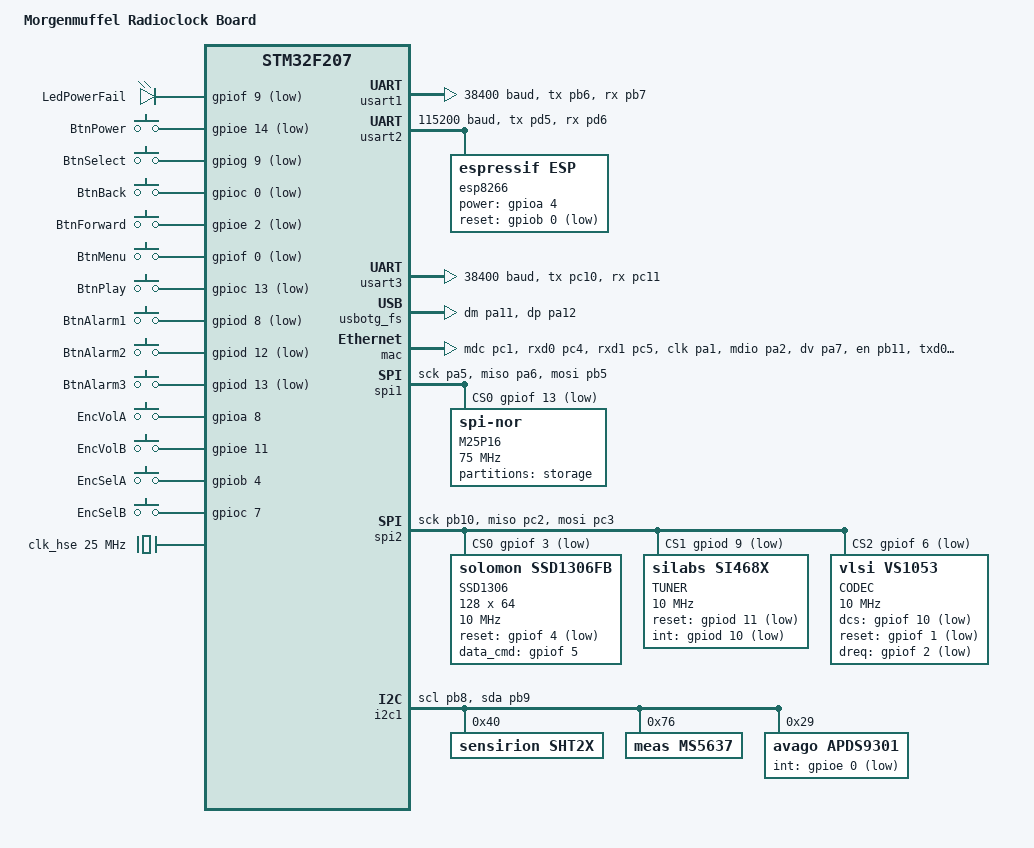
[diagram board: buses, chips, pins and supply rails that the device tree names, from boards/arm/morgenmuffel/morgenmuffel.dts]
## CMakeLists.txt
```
# Boilerplate code, which pulls in the Zephyr build system.
cmake_minimum_required(VERSION 3.13.1)

# Define the custom board
set(BOARD_ROOT ${CMAKE_CURRENT_LIST_DIR})
set(BOARD morgenmuffel)
set(ZEPHYR_BOARD_FLASH_RUNNER jlink)

list(APPEND ZEPHYR_EXTRA_MODULES
    ${CMAKE_CURRENT_LIST_DIR}/drivers/sht2x
    ${CMAKE_CURRENT_LIST_DIR}/drivers/ms5637
    ${CMAKE_CURRENT_LIST_DIR}/drivers/apds9301
    ${CMAKE_CURRENT_LIST_DIR}/drivers/si468x
    ${CMAKE_CURRENT_LIST_DIR}/drivers/vs1053
)

find_package(Zephyr REQUIRED HINTS $ENV{ZEPHYR_BASE})

project(MorgenMuffel)
set(CMAKE_EXPORT_COMPILE_COMMANDS ON)

# Add your source file to the "app" target. This must come after
# the boilerplate code, which defines the target.
target_sources(app PRIVATE
    src/main.c
    src/storage.h
    src/storage.c
    src/events.c
    src/userinput.c
    src/display.h
    src/display.c
    src/free_sans_16.c
    src/free_sans_32.c
    src/powersupply.c
    src/usb_device_handler.c
)
target_include_directories( app PRIVATE src/include)
```

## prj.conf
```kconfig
#CONFIG_HEAP_MEM_POOL_SIZE=16384
#CONFIG_MAIN_STACK_SIZE=2048
#CONFIG_NEWLIB_LIBC=n

CONFIG_COUNTER=y

CONFIG_LOG=y
CONFIG_DEBUG_OPTIMIZATIONS=y

CONFIG_FLASH=y
CONFIG_SPI_NOR=y
CONFIG_FLASH_PAGE_LAYOUT=y
CONFIG_SPI_NOR_FLASH_LAYOUT_PAGE_SIZE=65536
CONFIG_FLASH_MAP=y

CONFIG_FILE_SYSTEM=y
CONFIG_FILE_SYSTEM_LITTLEFS=y
CONFIG_SETTINGS=y

CONFIG_USE_SEGGER_RTT=y
CONFIG_SEGGER_RTT_MODE_BLOCK_IF_FIFO_FULL=y
CONFIG_POLL=y

CONFIG_SSD1306_REVERSE_MODE=y
CONFIG_DISPLAY=y
CONFIG_DISPLAY_LOG_LEVEL_ERR=y
CONFIG_LVGL=y
CONFIG_LVGL_TXT_ENC_UTF8=y
CONFIG_LVGL_USE_LABEL=y
CONFIG_LVGL_USE_CONT=y

#CONFIG_USB=y
CONFIG_USB_DEVICE_STACK=y
CONFIG_USB_DEVICE_MANUFACTURER="Peter-Net"
CONFIG_USB_DEVICE_PRODUCT="Morgenmuffel"
CONFIG_USB_MAX_POWER=5
CONFIG_USB_CDC_ACM=y
CONFIG_USB_CDC_ACM_RINGBUF_SIZE=512

CONFIG_SHELL=y
CONFIG_NET_SHELL=y
CONFIG_NET_L2_WIFI_SHELL=y
CONFIG_NET_TCP=y
CONFIG_DNS_RESOLVER=y
CONFIG_HTTP_CLIENT=y

CONFIG_DISK_DRIVERS=y
CONFIG_DISK_DRIVER_SDMMC=y
CONFIG_SDMMC_STM32=y
CONFIG_FAT_FILESYSTEM_ELM=y
CONFIG_FS_FATFS_EXFAT=y
CONFIG_FS_FATFS_CODEPAGE=850

CONFIG_NETWORKING=y
CONFIG_NET_HOSTNAME_ENABLE=y
CONFIG_NET_HOSTNAME="morgenmuffel"
CONFIG_NET_IPV6=y
CONFIG_NET_IPV4=y
CONFIG_SNTP=y
#CONFIG_ENTROPY_STM32_RNG=y
CONFIG_ENTROPY_GENERATOR=y
CONFIG_TEST_RANDOM_GENERATOR=y
CONFIG_NET_IF_MAX_IPV4_COUNT=2

#CONFIG_WIFI=y
#CONFIG_WIFI_ESP_AT_PASSIVE_MODE=y

CONFIG_SENSOR=y
CONFIG_SHT2X=y
CONFIG_MS5637=y
CONFIG_APDS9301=y

CONFIG_SI468X=y
CONFIG_SI468X_DAB=y
#CONFIG_SI468X_FMHD=y
```

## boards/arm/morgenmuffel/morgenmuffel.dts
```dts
/*
 * Copyright (c) 2019 Marco Peter
 *
 * SPDX-License-Identifier: Apache-2.0
 */

/dts-v1/;
#include <st/f2/stm32f207Xg.dtsi>
#include <st/f2/stm32f217z(e-g)tx-pinctrl.dtsi>

/ {
	model = "Morgenmuffel Radioclock Board";
	compatible = "mp,morgenmuffel", "st,stm32f207";

	chosen {
		zephyr,sram = &sram0;
		zephyr,flash = &flash0;
	};

	leds {
		compatible = "gpio-leds";
		power_led: led_1 {
			gpios = <&gpiof 9 GPIO_ACTIVE_LOW>;
			label = "LedPowerFail";
		};
	};

	gpio_keys {
		compatible = "gpio-keys";
		btn_pwr: button_power {
			label = "BtnPower";
			gpios = <&gpioe 14 (GPIO_ACTIVE_LOW | GPIO_PULL_UP)>;
		};
		btn_sel: button_select {
			label = "BtnSelect";
			gpios = <&gpiog 9 (GPIO_ACTIVE_LOW | GPIO_PULL_UP)>;
		};
		btn_bk: button_back {
			label = "BtnBack";
			gpios = <&gpioc 0 (GPIO_ACTIVE_LOW | GPIO_PULL_UP)>;
		};
		btn_fwd: button_forward {
			label = "BtnForward";
			gpios = <&gpioe 2 (GPIO_ACTIVE_LOW | GPIO_PULL_UP)>;
		};
		btn_menu: button_menu {
			label = "BtnMenu";
			gpios = <&gpiof 0 (GPIO_ACTIVE_LOW | GPIO_PULL_UP)>;
		};
		btn_play: button_play {
			label = "BtnPlay";
			gpios = <&gpioc 13 (GPIO_ACTIVE_LOW | GPIO_PULL_UP)>;
		};
		btn_alarm1: button_alarm1 {
			label = "BtnAlarm1";
			gpios = <&gpiod 8 (GPIO_ACTIVE_LOW | GPIO_PULL_UP)>;
		};
		btn_alarm2: button_alarm2 {
			label = "BtnAlarm2";
			gpios = <&gpiod 12 (GPIO_ACTIVE_LOW | GPIO_PULL_UP)>;
		};
		btn_alarm3: button_alarm3 {
			label = "BtnAlarm3";
			gpios = <&gpiod 13 (GPIO_ACTIVE_LOW | GPIO_PULL_UP)>;
		};
		enc_volume_a: encoder_volume_a {
			label = "EncVolA";
			gpios = <&gpioa 8 GPIO_PULL_UP>;
		};
		enc_volume_b: encoder_volume_b {
			label = "EncVolB";
			gpios = <&gpioe 11 GPIO_PULL_UP>;
		};
		enc_select_a: encoder_select_a {
			label = "EncSelA";
			gpios = <&gpiob 4 GPIO_PULL_UP>;
		};
		enc_select_b: encoder_select_b {
			label = "EncSelB";
			gpios = <&gpioc 7 GPIO_PULL_UP>;
		};
	};

	aliases {
		led0 = &power_led;
		sw0 = &btn_pwr;
		sw1 = &btn_sel;
		sw2 = &btn_bk;
		sw3 = &btn_fwd;
		sw4 = &btn_menu;
		sw5 = &btn_play;
		sw6 = &btn_alarm1;
		sw7 = &btn_alarm2;
		sw8 = &btn_alarm3;
	};
};

&clk_hse {
	clock-frequency = <DT_FREQ_M(25)>;
	status = "okay";
};

&clk_lse {
	status = "okay";
};

&pll {
	/* produce 120MHz clock at PLL output */
	clocks = <&clk_hse>;
	div-m = <25>;
	mul-n = <240>;
	div-p = <2>;
	div-q = <5>;
	status = "okay";
};

&rcc {
	clocks = <&pll>;
	clock-frequency = <DT_FREQ_M(120)>;
	ahb-prescaler = <1>;
	apb1-prescaler = <4>;
	apb2-prescaler = <2>;
};

&usart1 {
	pinctrl-0 = <&usart1_tx_pb6 &usart1_rx_pb7>;
	current-speed = <38400>;
	status = "okay";
};

&usart2 {
	pinctrl-0 = <&usart2_tx_pd5 &usart2_rx_pd6>;
	current-speed = <115200>;
	parity = "none";
	status = "okay";
	
	esp8266 {
		compatible = "espressif,esp";
		label = "esp8266";
		power-gpios = <&gpioa 4 GPIO_ACTIVE_HIGH>;
		reset-gpios = <&gpiob 0 GPIO_ACTIVE_LOW>;
		target-speed = <230400>;
		status = "okay";
	};
};

&usart3 {
	pinctrl-0 = <&usart3_tx_pc10 &usart3_rx_pc11>;
	current-speed = <38400>;
	status = "okay";
};

&usbotg_fs {
	pinctrl-0 = <&usb_otg_fs_dm_pa11 &usb_otg_fs_dp_pa12>;
	status = "okay";
};

&pinctrl {
	mco2_pc9: mco2_pc9 {
		pinmux = <STM32_PINMUX('C', 9, AF0)>;
		slew-rate = "very-high-speed";
	};
};

&mac {
	pinctrl-0 = <&eth_mdc_pc1
		     &eth_rxd0_pc4
		     &eth_rxd1_pc5
		     &eth_ref_clk_pa1
		     &eth_mdio_pa2
		     &eth_crs_dv_pa7
		     &eth_tx_en_pb11
		     &eth_txd0_pb12
		     &eth_txd1_pb13
		     &mco2_pc9>;
	status = "okay";
};

&spi1 { /* Memory bus connecting M25P16 (node 0) flash and SRAM (node 1) */
	pinctrl-0 = <&spi1_sck_pa5 &spi1_miso_pa6 &spi1_mosi_pb5>;
	cs-gpios = <&gpiof 13 GPIO_ACTIVE_LOW>, <&gpiof 12 GPIO_ACTIVE_LOW>;
	status = "okay";
	m25p16: m25p16@0 {
		compatible = "jedec,spi-nor";
		label = "M25P16";
		reg = <0>;
		jedec-id = [20 20 15];
		spi-max-frequency = <75000000>;
		size = <0x2000000>;
		has-dpd;
		t-enter-dpd = <3000>;
		t-exit-dpd = <30000>;

		partitions {
			compatible = "fixed-partitions";
			#address-cells = <1>;
			#size-cells = <1>;

			storage_partition: partition@0 {
				label = "storage";
				reg = <0x00000000 0x00200000>;
			};
		};
	};
};

&spi2 { /* Peripheral bus connecting display (node 0), VS1053 CS (node 1) and DCS (node 2) and SI4689 (node 3). */
	pinctrl-0 = <&spi2_sck_pb10 &spi2_miso_pc2 &spi2_mosi_pc3>;
	cs-gpios = <&gpiof 3 GPIO_ACTIVE_LOW>, <&gpiod 9 GPIO_ACTIVE_LOW>,
		   <&gpiof 6 GPIO_ACTIVE_LOW>;
	status = "okay";
	display: ssd1306@0 {
		compatible = "solomon,ssd1306fb";
		label = "SSD1306";
		reg = <0>;
		spi-max-frequency = <10000000>;
		height = <64>;
		width = <128>;
		segment-offset = <0>;
		page-offset = <0>;
		display-offset = <0>;
		multiplex-ratio = <63>;
		prechargep = <0x22>;
		reset-gpios = <&gpiof 4 GPIO_ACTIVE_LOW>;
		data_cmd-gpios = <&gpiof 5 0>;
	};
	radio: si4689@1 {
		compatible = "silabs,si468x";
		label = "TUNER";
		reg = <1>;
		spi-max-frequency = <10000000>;
		reset-gpios = <&gpiod 11 GPIO_ACTIVE_LOW>;
		int-gpios = <&gpiod 10 (GPIO_ACTIVE_LOW | GPIO_PULL_UP)>;
	};
	codec: vs1053@2 {
		compatible = "vlsi,vs1053";
		label = "CODEC";
		reg = <2>;
		spi-max-frequency = <10000000>;
		dcs-gpios = <&gpiof 10 GPIO_ACTIVE_LOW>;
		reset-gpios = <&gpiof 1 GPIO_ACTIVE_LOW>;
		dreq-gpios = <&gpiof 2 (GPIO_ACTIVE_LOW | GPIO_PULL_UP)>;
	};
};

&i2c1 {
	pinctrl-0 = <&i2c1_scl_pb8 &i2c1_sda_pb9>;
	status = "okay";
	rh_sens: sht2x@40 {
		compatible = "sensirion,sht2x";
		label = "SHT2X";
		reg = <0x40>;
	};
	pr_sens: ms5637@76 {
		compatible = "meas,ms5637";
		label = "MS5637";
		reg = <0x76>;
	};
	light_sens: apds9301@29 {
		compatible = "avago,apds9301";
		label = "APDS9301";
		reg = <0x29>;
		int-gpios = <&gpioe 0 (GPIO_ACTIVE_LOW | GPIO_PULL_UP)>;
	};
};
```

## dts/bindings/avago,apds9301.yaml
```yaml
# Copyright (c) 2018, Peter Bigot Consulting, LLC
# SPDX-License-Identifier: Apache-2.0

description: Avago APDS-9301 ambient light photo sensor

compatible: "avago,apds9301"

include: i2c-device.yaml

properties:
    int-gpios:
      type: phandle-array
      required: false
      description: Interrupt pin
```

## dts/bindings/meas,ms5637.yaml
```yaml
# Copyright (c) 2020, Marco Peter
# SPDX-License-Identifier: Apache-2.0

description: |
    Measurement Specialties MS5637 digital pressure and temperature sensor.

compatible: "meas,ms5637"

include: i2c-device.yaml
```

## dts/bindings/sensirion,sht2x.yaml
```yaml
# Copyright (c) 2018, Peter Bigot Consulting, LLC
# SPDX-License-Identifier: Apache-2.0

description: Sensirion Humidity SHT2x humidity and temperature sensor

compatible: "sensirion,sht2x"

include: i2c-device.yaml
```

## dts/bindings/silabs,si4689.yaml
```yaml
# Copyright (c) 2018, Peter Bigot Consulting, LLC
# SPDX-License-Identifier: Apache-2.0

description: Silicon Labs SI4689 DAB Receiver

compatible: "silabs,si4689"

include: spi-device.yaml

properties:
    int-gpios:
      type: phandle-array
      required: true
      description: Interrupt pin
    reset-gpios:
      type: phandle-array
      required: true
      description: Reset pin
```

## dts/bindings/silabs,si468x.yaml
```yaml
# Copyright (c) 2018, Peter Bigot Consulting, LLC
# SPDX-License-Identifier: Apache-2.0

description: Silicon Labs SI468x FM/DAB/FMHD/AM/AMHD Receiver

compatible: "silabs,si468x"

include: spi-device.yaml

properties:
    int-gpios:
      type: phandle-array
      required: true
      description: Interrupt pin
    reset-gpios:
      type: phandle-array
      required: true
      description: Reset pin
```

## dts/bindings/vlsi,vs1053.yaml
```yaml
# Copyright (c) 2018, Peter Bigot Consulting, LLC
# SPDX-License-Identifier: Apache-2.0

description: VLSI VS1053 MP3/Ogg/FLAC Codec

compatible: "vlsi,vs1053"

include: spi-device.yaml

properties:
    dcs-gpios:
      type: phandle-array
      required: true
      description: data chip select pin
    dreq-gpios:
      type: phandle-array
      required: true
      description: data request pin
    reset-gpios:
      type: phandle-array
      required: true
      description: reset pin
```

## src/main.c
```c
/*
 * Copyright (c) 2012-2014 Wind River Systems, Inc.
 *
 * SPDX-License-Identifier: Apache-2.0
 */

#include <device.h>
#include <errno.h>
#include <logging/log.h>
#include <zephyr.h>
#include "display.h"
#include <drivers/sensor.h>
#include <drivers/gpio.h>
#include <si468x.h>
#include "powersupply.h"
#include "usb_device_handler.h"
#include "events.h"

LOG_MODULE_REGISTER(main, LOG_LEVEL_DBG);

static void show_initScreen(void);
static void show_sht21(void);
static void show_ms5637(void);
static void show_apds9301(void);

static const struct device *rh_sens;
static const struct device *pr_sens;
static const struct device *lx_sens;
static const struct device *tuner;
static const struct device *wlan_chip_en_port;
static const struct device *wlan_update_port;
static const struct device *wlan_rst;

uint8_t buffer[2048];

static inline int abs(int value)
{
	return value < 0 ? -value : value;
}

void main(void)
{
	int rc;

	rc = powersupply_request_1v8();
	if (rc != 0) {
		LOG_ERR("Requesting 1.8V failed with rc %d", rc);
	}
	k_sleep(K_MSEC(10));

	rh_sens = device_get_binding("SHT2X");
	if (rh_sens == NULL) {
		LOG_ERR("humidity sensor not found");
	}
	pr_sens = device_get_binding("MS5637");
	if (rh_sens == NULL) {
		LOG_ERR("pressure sensor not found");
	}
	lx_sens = device_get_binding("APDS9301");
	if (rh_sens == NULL) {
		LOG_ERR("lux sensor not found");
	}
	tuner = device_get_binding("TUNER");
	if (rh_sens == NULL) {
		LOG_ERR("tuner not found");
	}
	/*
	wlan_chip_en_port = device_get_binding("GPIOA");
	if (wlan_chip_en_port == NULL) {
		LOG_ERR("WLan enable port not found");
	}
	wlan_update_port = wlan_chip_en_port;
	wlan_rst = device_get_binding("GPIOB");
	if (wlan_rst == NULL) {
		LOG_ERR("WLan reset port not found");
	}

	rc = gpio_pin_configure(wlan_chip_en_port, 4, GPIO_OUTPUT_INACTIVE);
	if (rc != 0) {
		LOG_ERR("Failed to configure enable output");
	}
	rc = gpio_pin_configure(wlan_rst, 0,
				GPIO_OUTPUT_ACTIVE | GPIO_ACTIVE_LOW);
	if (rc != 0) {
		LOG_ERR("Failed to configure reset output");
	}
	rc = gpio_pin_configure(wlan_update_port, 3,
				GPIO_OUTPUT_ACTIVE | GPIO_ACTIVE_LOW);
	if (rc != 0) {
		LOG_ERR("Failed to configure update output");
	}
	*/

	LOG_DBG("send command initScreen");
	display_command(show_initScreen);
	/*
	rc = si468x_bandscan(tuner, si468x_MODE_DAB, buffer);
	if (rc != 0) {
		LOG_ERR("Bandscan failed with rc %d", rc);
	}

	rc = si468x_play_service(tuner, si468x_MODE_DAB, 42);
	if (rc != 0) {
		LOG_ERR("Failed to start the tuner with rc %d", rc);
	}
	*/
	/*
	k_sleep(K_MSEC(100));
	rc = gpio_pin_set(wlan_chip_en_port, 4, 1);
	if (rc != 0) {
		LOG_ERR("Failed to switch on enable pin");
	}
	k_sleep(K_MSEC(100));
	rc = gpio_pin_set(wlan_rst, 0, 0);
	if (rc != 0) {
		LOG_ERR("Failed to release reset pin");
	}
	k_sleep(K_MSEC(100));

	rc = usb_devicehandler_init();
	if (rc != 0) {
		LOG_ERR("Initialisation of USB failed");
	}
	
	rc = usb_enable(NULL);
	if (rc != 0) {
		LOG_ERR("Failed to enable USB with rc %d", rc);
	}
	*/
	for (;;) {
		int event;
		event = wait_for_user_event();
		LOG_DBG("Got user input 0x%08X", event);
/*
		k_sleep(K_SECONDS(1));
		display_command(show_sht21);
		display_command(show_apds9301);*/
	}
}

static void show_initScreen(void)
{
	lv_obj_t *label = lv_label_create(lv_scr_act(), NULL);
	lv_label_set_text(label, "Morgenmuffel");
	lv_obj_align(label, NULL, LV_ALIGN_IN_TOP_MID, 0, 0);
	//lv_obj_set_auto_realign(label, true);
}

static void show_sht21(void)
{
	struct sensor_value temperature1;
	struct sensor_value humidity;
	static lv_obj_t *lbl_sht21;
	int rc;
	char text[] = "Hier gibt es nix zu sehen!";

	rc = sensor_sample_fetch(rh_sens);
	if (rc != 0) {
		LOG_ERR("Fetching data from SHT21 failed with error %d", rc);
	}
	rc = sensor_channel_get(rh_sens, SENSOR_CHAN_AMBIENT_TEMP,
				&temperature1);
	if (rc != 0) {
		LOG_ERR("Getting temperature from SHT21 failed with eror %d",
			rc);
	}
	rc = sensor_channel_get(rh_sens, SENSOR_CHAN_HUMIDITY, &humidity);
	if (rc != 0) {
		LOG_ERR("Getting humidity from SHT21 failed with error %d", rc);
	}

	if (lbl_sht21 == NULL) {
		lbl_sht21 = lv_label_create(lv_scr_act(), NULL);
	}
	snprintf(text, sizeof(text), "%s%d.%dC %d.%d%%",
		 temperature1.val1 < 0 || temperature1.val2 < 0 ? "-" : "",
		 abs(temperature1.val1), abs(temperature1.val2) / 10000,
		 humidity.val1, humidity.val2 / 10000);
	lv_label_set_text(lbl_sht21, text);
	lv_obj_align(lbl_sht21, NULL, LV_ALIGN_IN_TOP_MID, 0, 12);
}

static void show_ms5637(void)
{
	int rc;
	struct sensor_value temperature2;
	struct sensor_value pressure;
	static lv_obj_t *lbl_ms5637_1;
	static lv_obj_t *lbl_ms5637_2;
	char text[] = "Hier gibt es nix zu sehen!";

	rc = sensor_sample_fetch(pr_sens);
	if (rc != 0) {
		LOG_ERR("Fetching data from MS5637 failed with error %d", rc);
	}
	rc = sensor_channel_get(pr_sens, SENSOR_CHAN_AMBIENT_TEMP,
				&temperature2);
	if (rc != 0) {
		LOG_ERR("Getting temperature from MS5637 failed with eror %d",
			rc);
	}
	rc = sensor_channel_get(pr_sens, SENSOR_CHAN_PRESS, &pressure);
	if (rc != 0) {
		LOG_ERR("Getting temperature from MS5637 failed with eror %d",
			rc);
	}

	if (lbl_ms5637_1 == NULL) {
		lbl_ms5637_1 = lv_label_create(lv_scr_act(), NULL);
	}
	if (lbl_ms5637_2 == NULL) {
		lbl_ms5637_2 = lv_label_create(lv_scr_act(), NULL);
	}

	snprintf(text, sizeof(text), "%s%d.%dC",
		 temperature2.val1 < 0 || temperature2.val2 < 0 ? "-" : "",
		 abs(temperature2.val1), abs(temperature2.val2) / 10000);
	lv_label_set_text(lbl_ms5637_1, text);
	lv_obj_align(lbl_ms5637_1, NULL, LV_ALIGN_IN_TOP_MID, 0, 24);
	snprintf(text, sizeof(text), "%d.%dKpa", pressure.val1,
		 pressure.val2 / 1000);
	lv_label_set_text(lbl_ms5637_2, text);
	lv_obj_align(lbl_ms5637_2, NULL, LV_ALIGN_IN_TOP_MID, 0, 36);
}

static void show_apds9301(void)
{
	int rc;
	struct sensor_value light_value;
	static lv_obj_t *lbl_apds9301_1;
	char text[] = "Hier gibt es nix zu sehen!";

	rc = sensor_sample_fetch(lx_sens);
	if (rc != 0) {
		LOG_ERR("Fetching data from APDS9301 failed with error %d", rc);
	}
	rc = sensor_channel_get(lx_sens, SENSOR_CHAN_LIGHT, &light_value);
	if (rc != 0) {
		LOG_ERR("Getting illuminance from APDS9301 failed with eror %d",
			rc);
	}
	if (lbl_apds9301_1 == NULL) {
		lbl_apds9301_1 = lv_label_create(lv_scr_act(), NULL);
	}
	snprintf(text, sizeof(text), "%d.%d lux", light_value.val1,
		 light_value.val2 / 1000);
	lv_label_set_text(lbl_apds9301_1, text);
	lv_obj_align(lbl_apds9301_1, NULL, LV_ALIGN_IN_TOP_MID, 0, 24);
}
```

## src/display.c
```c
#include "display.h"
#include <zephyr.h>
#include <device.h>
#include <drivers/gpio.h>
#include <drivers/display.h>

#define LOG_LEVEL CONFIG_LOG_DEFAULT_LEVEL
#include <logging/log.h>
LOG_MODULE_REGISTER(disp);

#define DISPLAY_THREAD_PRIO 2
#define DISPLAY_THREAD_STACK 2048
#define DISPLAY_COMMAND_QUEUE_SIZE 3

K_MSGQ_DEFINE(display_msgq, sizeof(display_command_t),
	      DISPLAY_COMMAND_QUEUE_SIZE, sizeof(display_command_t));
static const struct device *display;

void display_command(display_command_t cmd)
{
	int rc;

	LOG_DBG("enter display_command");
	rc = k_msgq_put(&display_msgq, &cmd, K_SECONDS(2));
	if(rc != 0) {
		LOG_ERR("display_command failed with status %d", rc);
	}
	LOG_DBG("leave display_command");
}

void display_clear(void)
{
	LOG_DBG("enter display_clear");
	lv_obj_clean(lv_scr_act());
	LOG_DBG("leave display_clear");
}

void display_off(void)
{
	LOG_DBG("enter display_off");
	display_blanking_on(display);
	LOG_DBG("leave display_off");
}

static void display_func(void)
{
	display = device_get_binding(CONFIG_LVGL_DISPLAY_DEV_NAME);
	if (display == NULL) {
		LOG_ERR("Display device not found");
		return;
	}
	display_blanking_off(display);

	for (;;) {
		display_command_t cmd;

		while (k_msgq_get(&display_msgq, &cmd, K_NO_WAIT) == 0) {
			LOG_DBG("new command");
			cmd();
			LOG_DBG("command done");
		}
		lv_task_handler();
		k_sleep(K_MSEC(10));
	}
}

K_THREAD_DEFINE(display_thread, DISPLAY_THREAD_STACK, display_func, NULL, NULL,
		NULL, DISPLAY_THREAD_PRIO, 0, 100);
```

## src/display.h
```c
#ifndef DISPLAY_H
#define DISPLAY_H

#include <lvgl.h>

typedef void (*display_command_t)(void);

int display_init(void);

void display_command(display_command_t cmd);

/* Standard display commands */
void display_clear(void);
void display_off(void);

#endif /* DISPLAY_H */
```

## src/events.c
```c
/**************************************************************************/ /**
 * events.c
 *
 * System events
 *
 * 2020 by M. Peter
 *
 *****************************************************************************/
#include "events.h"
#include <zephyr.h>

struct k_poll_signal buttonEvents = K_POLL_SIGNAL_INITIALIZER(buttonEvents);
struct k_poll_event events[] = { K_POLL_EVENT_STATIC_INITIALIZER(
        K_POLL_TYPE_SIGNAL, K_POLL_MODE_NOTIFY_ONLY, &buttonEvents, 0) };

int wait_for_user_event(void)
{
        int result;

        k_poll(events, 1, K_FOREVER);
        result = events->signal->result;
        events[0].signal->signaled = 0;
        events[0].state = K_POLL_STATE_NOT_READY;
        return result;
}
```

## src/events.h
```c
/**************************************************************************/ /**
 * events.h
 *
 * System events
 *
 * 2020 by M. Peter
 *
 *****************************************************************************/
#ifndef EVENTS_C_
#define EVENTS_C_

#define EVT_BTN_ALARM1_SHORT 0x00000001 /// Alarm 1 button event
#define EVT_BTN_ALARM1_LONG  0x00000002 /// Alarm 1 button event
#define EVT_BTN_ALARM2_SHORT 0x00000004 /// Alarm 2 button event
#define EVT_BTN_ALARM2_LONG  0x00000008 /// Alarm 2 button event
#define EVT_BTN_ALARM3_SHORT 0x00000010 /// Alarm 3 button event
#define EVT_BTN_ALARM3_LONG  0x00000020 /// Alarm 3 button event
#define EVT_BTN_POWER_SHORT  0x00000040 /// Power button event
#define EVT_BTN_POWER_LONG   0x00000080 /// Power button event
#define EVT_BTN_SELECT_SHORT 0x00000100 /// Select button event
#define EVT_BTN_SELECT_LONG  0x00000200 /// Select button event
#define EVT_BTN_PLAY_SHORT   0x00000400 /// Play button event
#define EVT_BTN_PLAY_LONG    0x00000800 /// Play button event
#define EVT_BTN_FWD_SHORT    0x00001000 /// Forward button event
#define EVT_BTN_FWD_LONG     0x00002000 /// Forward button event
#define EVT_BTN_BACK_SHORT   0x00004000 /// Back button event
#define EVT_BTN_BACK_LONG    0x00008000 /// Back button event
#define EVT_BTN_MENU_SHORT   0x00010000 /// Menu button event
#define EVT_BTN_MENU_LONG    0x00020000 /// Menu button event
#define EVT_ENC_VOLUME_UP    0x00040000 /// Volume encoder event
#define EVT_ENC_VOLUME_DN    0x00080000 /// Volume encoder event
#define EVT_ENC_SELECT_UP    0x00100000 /// Select up encoder event
#define EVT_ENC_SELECT_DN    0x00200000 /// Select up encoder event

/// All user input events
#define EVT_ALL_USERINPUT 0x003FFFFF

extern struct k_poll_signal buttonEvents;

int wait_for_user_event(void);

#endif // EVENTS_C_
```

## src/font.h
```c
/******************************************************************************
 * font.h
 *
 * Declaration of structures to draw characters in a defined font
 *
 * 2017 by M. Peter
 *
 ******************************************************************************/

#ifndef __font_h__
#define __font_h__

#include <stdint.h>
#include <wchar.h>

/******************************************************************************
 * Glyph descriptor with the required key to find the glyph using linear search
 *
 ******************************************************************************/
typedef struct Glyph {
  wchar_t character; // represented character
  struct {
    const uint8_t *data; // Pointer to the glyph data
    uint8_t width;       // Width of the character
    uint8_t height;      // height of the character
    uint8_t
        bearingX; // Distance from origin to actual beginning of the character
    uint8_t
        bearingY; // Disatnce from origin to actual beginning of the character
    uint8_t advance; // Number of pixels to advance the cursor after the
                     // character is drawn
  } desc;
} Glyph;

/******************************************************************************
 * Font data container
 *
 ******************************************************************************/
typedef struct Font {
  uint16_t size;
  const Glyph *glyphs;
} Font;

/******************************************************************************
 * Structures containing data to describe a given character set
 *
 ******************************************************************************/
extern const Font fontFreeSans16;
extern const Font fontFreeSans32;

/******************************************************************************
 * Font related functions
 *
 ******************************************************************************/
const Glyph *getGlyph(wchar_t character, const Font *font);
uint32_t textLength(const wchar_t *text, const Font *font);

#endif // __font_h__
```

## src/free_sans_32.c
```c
#include <lvgl.h>

/*******************************************************************************
 * Size: 32 px
 * Bpp: 1
 * Opts: 
 ******************************************************************************/

#ifndef FREE_SANS_32
#define FREE_SANS_32 1
#endif

#if FREE_SANS_32

/*-----------------
 *    BITMAPS
 *----------------*/

/*Store the image of the glyphs*/
static LV_ATTRIBUTE_LARGE_CONST const uint8_t gylph_bitmap[] = {
    /* U+20 " " */
    0x0,

    /* U+25 "%" */
    0x0, 0x0, 0x18, 0x7, 0xc0, 0xc, 0x3, 0xf8,
    0x3, 0x1, 0xc7, 0x1, 0x80, 0xe0, 0xe0, 0xc0,
    0x30, 0x18, 0x30, 0xc, 0x6, 0x18, 0x3, 0x1,
    0x86, 0x0, 0xe0, 0xe3, 0x0, 0x1c, 0x70, 0xc0,
    0x3, 0xf8, 0x60, 0x0, 0x7c, 0x18, 0x0, 0x0,
    0xc, 0x0, 0x0, 0x7, 0x7, 0x80, 0x1, 0x83,
    0xf0, 0x0, 0xe1, 0x86, 0x0, 0x30, 0xc0, 0xc0,
    0x1c, 0x30, 0x30, 0x6, 0xc, 0xc, 0x3, 0x3,
    0x3, 0x0, 0xc0, 0xe1, 0xc0, 0x60, 0x1f, 0xe0,
    0x18, 0x3, 0xf0, 0xc, 0x0, 0x0,

    /* U+2D "-" */
    0xff, 0xff,

    /* U+30 "0" */
    0x7, 0xc0, 0x3f, 0xe0, 0xf1, 0xe1, 0xc1, 0xe7,
    0x1, 0xce, 0x3, 0xb8, 0x3, 0xf0, 0x7, 0xe0,
    0xf, 0xc0, 0x1f, 0x80, 0x3f, 0x0, 0x7e, 0x0,
    0xfc, 0x1, 0xf8, 0x3, 0xf0, 0x7, 0x70, 0x1c,
    0xe0, 0x39, 0xc0, 0x71, 0xc1, 0xc1, 0xff, 0x1,
    0xfc, 0x0, 0x40, 0x0,

    /* U+31 "1" */
    0x3, 0x7, 0x7, 0xf, 0xff, 0xff, 0x7, 0x7,
    0x7, 0x7, 0x7, 0x7, 0x7, 0x7, 0x7, 0x7,
    0x7, 0x7, 0x7, 0x7, 0x7, 0x7,

    /* U+32 "2" */
    0xf, 0xe0, 0x7f, 0xf1, 0xe0, 0xf3, 0x80, 0xee,
    0x0, 0xfc, 0x1, 0xf8, 0x3, 0x80, 0x7, 0x0,
    0x1e, 0x0, 0x38, 0x1, 0xe0, 0xf, 0x80, 0x3e,
    0x1, 0xf0, 0x7, 0x80, 0x1c, 0x0, 0x70, 0x0,
    0xc0, 0x3, 0x80, 0x7, 0xff, 0xff, 0xff, 0xff,
    0xff, 0xc0,

    /* U+33 "3" */
    0xf, 0xc0, 0x7f, 0xe1, 0xe1, 0xe3, 0x81, 0xee,
    0x1, 0xdc, 0x3, 0xb8, 0x7, 0x0, 0xe, 0x0,
    0x78, 0x7, 0xe0, 0xf, 0xc0, 0x1, 0xe0, 0x1,
    0xc0, 0x1, 0xc0, 0x3, 0xf0, 0x7, 0xe0, 0xf,
    0xc0, 0x1f, 0xc0, 0x73, 0x81, 0xe3, 0xff, 0x83,
    0xfe, 0x0, 0x0, 0x0,

    /* U+34 "4" */
    0x0, 0x38, 0x0, 0x38, 0x0, 0x78, 0x0, 0xf8,
    0x1, 0xf8, 0x1, 0xb8, 0x3, 0xb8, 0x7, 0x38,
    0xe, 0x38, 0xc, 0x38, 0x1c, 0x38, 0x38, 0x38,
    0x70, 0x38, 0x60, 0x38, 0xff, 0xff, 0xff, 0xff,
    0x0, 0x38, 0x0, 0x38, 0x0, 0x38, 0x0, 0x38,
    0x0, 0x38, 0x0, 0x38,

    /* U+35 "5" */
    0x3f, 0xfc, 0x7f, 0xf8, 0xff, 0xf3, 0x80, 0x7,
    0x0, 0xe, 0x0, 0x1c, 0x0, 0x38, 0x0, 0x67,
    0xe0, 0xff, 0xe1, 0xe1, 0xe7, 0x80, 0xe0, 0x1,
    0xe0, 0x1, 0xc0, 0x3, 0x80, 0x7, 0x0, 0xf,
    0x80, 0x1f, 0x80, 0x3f, 0x0, 0xe7, 0x3, 0x87,
    0xff, 0x7, 0xf8, 0x0, 0x0,

    /* U+36 "6" */
    0x7, 0xe0, 0x1f, 0xe0, 0xf0, 0xe1, 0xc0, 0xe7,
    0x1, 0xce, 0x0, 0x18, 0x0, 0x70, 0x0, 0xe7,
    0xe1, 0xdf, 0xf3, 0xf0, 0xf7, 0x80, 0xef, 0x1,
    0xfc, 0x1, 0xf8, 0x3, 0xf0, 0x7, 0xe0, 0xe,
    0xc0, 0x1d, 0xc0, 0x71, 0xc1, 0xe3, 0xff, 0x81,
    0xfc, 0x0, 0x0, 0x0,

    /* U+37 "7" */
    0xff, 0xff, 0xff, 0xff, 0xff, 0xf8, 0x0, 0x60,
    0x1, 0xc0, 0x7, 0x0, 0xc, 0x0, 0x38, 0x0,
    0xe0, 0x1, 0x80, 0x7, 0x0, 0xc, 0x0, 0x38,
    0x0, 0x60, 0x1, 0xc0, 0x3, 0x80, 0xe, 0x0,
    0x1c, 0x0, 0x38, 0x0, 0x60, 0x1, 0xc0, 0x3,
    0x80, 0x0,

    /* U+38 "8" */
    0x7, 0xc0, 0x3f, 0xe0, 0xf1, 0xe3, 0xc1, 0xe7,
    0x1, 0xce, 0x3, 0x9c, 0x7, 0x3c, 0x1e, 0x3c,
    0x78, 0x3f, 0xe0, 0x7f, 0x81, 0xc1, 0xc7, 0x1,
    0xdc, 0x1, 0xf8, 0x3, 0xf0, 0x7, 0xe0, 0xf,
    0xc0, 0x1d, 0xc0, 0x73, 0xc1, 0xe3, 0xff, 0x83,
    0xfe, 0x0, 0x0, 0x0,

    /* U+39 "9" */
    0xf, 0xc0, 0x3f, 0xe0, 0xe1, 0xe3, 0x80, 0xef,
    0x1, 0xdc, 0x1, 0xb8, 0x3, 0xf0, 0x7, 0xe0,
    0xf, 0xc0, 0x3d, 0xc0, 0x7b, 0xc3, 0xf3, 0xfe,
    0xe1, 0xf9, 0xc0, 0x3, 0x80, 0x7, 0x0, 0x1c,
    0xe0, 0x39, 0xc0, 0x63, 0xc1, 0xc3, 0xff, 0x3,
    0xfc, 0x0, 0x0, 0x0,

    /* U+3A ":" */
    0xff, 0x80, 0x0, 0x0, 0x0, 0x3f, 0xe0
};


/*---------------------
 *  GLYPH DESCRIPTION
 *--------------------*/

static const lv_font_fmt_txt_glyph_dsc_t glyph_dsc[] = {
    {.bitmap_index = 0, .adv_w = 0, .box_w = 0, .box_h = 0, .ofs_x = 0, .ofs_y = 0} /* id = 0 reserved */,
    {.bitmap_index = 0, .adv_w = 128, .box_w = 1, .box_h = 1, .ofs_x = 0, .ofs_y = 0},
    {.bitmap_index = 1, .adv_w = 455, .box_w = 26, .box_h = 24, .ofs_x = 1, .ofs_y = -1},
    {.bitmap_index = 79, .adv_w = 170, .box_w = 8, .box_h = 2, .ofs_x = 1, .ofs_y = 8},
    {.bitmap_index = 81, .adv_w = 285, .box_w = 15, .box_h = 23, .ofs_x = 1, .ofs_y = -1},
    {.bitmap_index = 125, .adv_w = 285, .box_w = 8, .box_h = 22, .ofs_x = 3, .ofs_y = 0},
    {.bitmap_index = 147, .adv_w = 285, .box_w = 15, .box_h = 22, .ofs_x = 1, .ofs_y = 0},
    {.bitmap_index = 189, .adv_w = 285, .box_w = 15, .box_h = 23, .ofs_x = 1, .ofs_y = -1},
    {.bitmap_index = 233, .adv_w = 285, .box_w = 16, .box_h = 22, .ofs_x = 0, .ofs_y = 0},
    {.bitmap_index = 277, .adv_w = 285, .box_w = 15, .box_h = 24, .ofs_x = 2, .ofs_y = -1},
    {.bitmap_index = 322, .adv_w = 285, .box_w = 15, .box_h = 23, .ofs_x = 1, .ofs_y = -1},
    {.bitmap_index = 366, .adv_w = 285, .box_w = 15, .box_h = 22, .ofs_x = 1, .ofs_y = 0},
    {.bitmap_index = 408, .adv_w = 285, .box_w = 15, .box_h = 23, .ofs_x = 1, .ofs_y = -1},
    {.bitmap_index = 452, .adv_w = 285, .box_w = 15, .box_h = 23, .ofs_x = 1, .ofs_y = -1},
    {.bitmap_index = 496, .adv_w = 128, .box_w = 3, .box_h = 17, .ofs_x = 3, .ofs_y = 0}
};

/*---------------------
 *  CHARACTER MAPPING
 *--------------------*/

static const uint16_t unicode_list_0[] = {
    0x0, 0x5, 0xd
};

/*Collect the unicode lists and glyph_id offsets*/
static const lv_font_fmt_txt_cmap_t cmaps[] =
{
    {
        .range_start = 32, .range_length = 14, .glyph_id_start = 1,
        .unicode_list = unicode_list_0, .glyph_id_ofs_list = NULL, .list_length = 3, .type = LV_FONT_FMT_TXT_CMAP_SPARSE_TINY
    },
    {
        .range_start = 48, .range_length = 11, .glyph_id_start = 4,
        .unicode_list = NULL, .glyph_id_ofs_list = NULL, .list_length = 0, .type = LV_FONT_FMT_TXT_CMAP_FORMAT0_TINY
    }
};



/*--------------------
 *  ALL CUSTOM DATA
 *--------------------*/

/*Store all the custom data of the font*/
static lv_font_fmt_txt_dsc_t font_dsc = {
    .glyph_bitmap = gylph_bitmap,
    .glyph_dsc = glyph_dsc,
    .cmaps = cmaps,
    .kern_dsc = NULL,
    .kern_scale = 0,
    .cmap_num = 2,
    .bpp = 1,
    .kern_classes = 0,
    .bitmap_format = 0
};


/*-----------------
 *  PUBLIC FONT
 *----------------*/

/*Initialize a public general font descriptor*/
lv_font_t free_sans_32 = {
    .get_glyph_dsc = lv_font_get_glyph_dsc_fmt_txt,    /*Function pointer to get glyph's data*/
    .get_glyph_bitmap = lv_font_get_bitmap_fmt_txt,    /*Function pointer to get glyph's bitmap*/
    .line_height = 24,          /*The maximum line height required by the font*/
    .base_line = 1,             /*Baseline measured from the bottom of the line*/
#if !(LVGL_VERSION_MAJOR == 6 && LVGL_VERSION_MINOR == 0)
    .subpx = LV_FONT_SUBPX_NONE,
#endif
#if LV_VERSION_CHECK(7, 4, 0)
    .underline_position = -6,
    .underline_thickness = 2,
#endif
    .dsc = &font_dsc           /*The custom font data. Will be accessed by `get_glyph_bitmap/dsc` */
};



#endif /*#if FREE_SANS_32*/
```

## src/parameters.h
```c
/*
 * Copyright (c) 2019 Marco Peter
 *
 * This file contains all available parameter identifiers on the system.
 * Usage of the parameters are the task of the implementing modules.
 */

#pragma once

#include <zephyr/types.h>

#define PARAMETERS_BASE_PLAYLIST 1000

typedef struct parameters_t {
	uint16_t currentPlaylistItem;
	uint8_t volume;
} parameters_t;

extern parameters_t parameters;
```

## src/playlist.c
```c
/**
 * playlist.c
 *
 *  Implementation for music sources, which can be chained together
 *
 * 2017 by M. Peter
 *
 * Organisation of the playlist items on storage:
 * 2 bytes total playlist item length
 * 4 bytes identifier
 * 1 byte protocol type
 * 1 byte label length
 * n bytes label
 * m bytes protocol specific data which is not handled here at all
 *
 *****************************************************************************/

#include "playlist.h"
#include "storage.h"
#include <stdio.h>
#include <string.h>
#include <errno.h>
#include "parameters.h"

/**
 * Playlist basic information
 */
struct Playlist_PermanentData {
	/// Currently selected playlist item
	uint16_t currentElement;
};

/**
 * Internal header information of a playlist information
 */
struct Playlist_ItemHeader_t {
	/// Label string including the string delimiter.
	wchar_t label[PLAYLIST_MAX_NAME_LENGTH];
	/// The identifier of the playlist item
	uint16_t id;
	/// Identifier of the next entry
	uint16_t next;
	/// Identifier of the previous entry
	uint16_t previous;
	/// Provides information about the source type
	enum Playlist_ProtocolType_t;
};

struct {
	uint16_t currentElement;
} playlist;

/**
 * Initialisation of the playlist handler
 * 
 * @return An error state, hopefully 0
 */
int playlistInit(void)
{
	int rc;

	struct Playlist_PermanentData data;
	rc = storage_read_parameter(PARAMETERS_BASE_PLAYLIST, &data,
				    sizeof(data));
	if (rc != sizeof(data)) {
		return -EIO;
	}

	playlist.currentElement = data.currentElement;

	return 0;
}

static int readParameter(uint16_t id, void *data, size_t len)
{
}

/**
 * Get the selected playlist item
 * 
 * @param selection	Return the current, the next or previous item.
 * @return The The item belonging to the selected playlist item.
 */
int playlistGetItem(enum Playlist_ItemSelection_t selection)
{
	struct Playlist_ItemHeader_t data;
	int rc;

	rc = storage_read_parameter(playlist.currentElement, &data,
				    sizeof(data));
	if (rc != sizeof(data)) {
		return rc;
	}

	switch (selection) {
	case Playlist_CurrentItem:
		break;

	case Playlist_NextItem:
		rc = storage_read_parameter(data.next, &data, sizeof(data));
		break;

	case Playlist_PreviousItem:
		rc = storage_read_parameter(data.previous, &data, sizeof(data));
		break;
	}
	return data.id;
}

/**
 * Create a new playlist item
 *
 * Organisation of the playlist items on storage:
 * 2 bytes total playlist item length
 * 4 bytes identifier
 * 1 byte protocol type
 * 1 byte label length
 * n bytes label
 * m bytes protocol specific data which is not handled here at all
 *
 * @param	type		The playlist item type
 * @param	label		The label to assign with the item
 * @param	payload		The payload to assign to the item. Set to NULL
 *to prevent data being copied
 * @param	payloadLen	The length of the assigned payload
 * @return	An error state
 *
 *****************************************************************************/
int playlistItemCreate(ProtocolType_t type, const wchar_t *label,
		       const void *payload, size_t payloadLen)
{
	int rc;
	int32_t retVal;

	uint8_t labelLen = wcslen(label) * sizeof(*label);
	uint16_t len = PL_ITEM_LENGTH_HEADER + labelLen + payloadLen;

	/* Just open the target area within the file, without writing anything yet */
	rc = storageInsertBytes(currentList.file, NULL, len);
	if (rc != Error_None) {
		return Error_Memory;
	}

	/* Now write down the data */
	retVal = SPIFFS_write(&spiFileSys, currentList.file, &len, sizeof(len));
	if (retVal != sizeof(len)) {
		return Error_Memory;
	}

	retVal = SPIFFS_write(&spiFileSys, currentList.file,
			      &currentList.nextId, sizeof(currentList.nextId));
	if (retVal != sizeof(currentList.nextId)) {
		return Error_Memory;
	}
	currentList.nextId++;

	retVal = SPIFFS_write(&spiFileSys, currentList.file, &type,
			      sizeof(type));
	if (retVal != sizeof(type)) {
		return Error_Memory;
	}

	retVal = SPIFFS_write(&spiFileSys, currentList.file, &labelLen,
			      sizeof(labelLen));
	if (retVal != sizeof(labelLen)) {
		return Error_Memory;
	}

	retVal = SPIFFS_write(&spiFileSys, currentList.file, label, labelLen);
	if (retVal != labelLen) {
		return Error_Memory;
	}

	retVal = SPIFFS_write(&spiFileSys, currentList.file, payload,
			      payloadLen);
	if (retVal != (int32_t)payloadLen) {
		return Error_Memory;
	}
	return Error_None;
}

/**
 * Get the size of the current playlist item
 *
 * @return The item size of 0 when an error occured
 *
 ******************************************************************************/
uint16_t playlistItemReadSize(void)
{
	int rc;
	uint16_t size;

	rc = playlistItemReadOffset(&size, sizeof(size), 0);
	if (rc == Error_None) {
		return size;
	} else {
		return 0;
	}
}

/**
 * Read the item identifier of the current entry
 *
 *
 * @return	The identifier or 0 when something happened
 *
 ******************************************************************************/
uint32_t playlistItemReadId(void)
{
	int rc;
	uint32_t crc;

	rc = playlistItemReadOffset(&crc, sizeof(crc), PL_ITEM_LENGTH_LEN);
	if (rc == Error_None) {
		return crc;
	} else {
		return 0;
	}
}

/**
 * Read the protocol type of the current entry
 *
 *
 * @return	The protocol type or PlaylistProtoNone when something happened
 *
 ******************************************************************************/
ProtocolType_t playlistItemReadProtocolType(void)
{
	int rc;
	ProtocolType_t protocolType;

	rc = playlistItemReadOffset(&protocolType, sizeof(protocolType),
				    PL_ITEM_LENGTH_LEN + PL_ITEM_LENGTH_ID);
	if (rc == Error_None) {
		return protocolType;
	} else {
		return PlaylistProtoNone;
	}
}

/**
 * Read the label length of the current entry
 *
 *
 * @return	The label length or zero when something happened
 *
 ******************************************************************************/
uint8_t playlistItemReadLabelLength(void)
{
	int rc;
	uint8_t labelLength;

	rc = playlistItemReadOffset(&labelLength, sizeof(labelLength),
				    PL_ITEM_LENGTH_LEN + PL_ITEM_LENGTH_ID +
					    PL_ITEM_LENGTH_PROTO);
	if (rc == Error_None) {
		return labelLength;
	} else {
		return 0;
	}
}

/**
 * Read the label of the current entry
 *
 * @param label		The target location for the read label
 * @param maxLength	The maximum length excluding the terminating /0
 *character, for which the array must be sized too.
 * @return	The label length or 0 when something happened
 *
 ******************************************************************************/
uint8_t playlistItemReadLabel(wchar_t *label, uint8_t maxLength)
{
	int rc;
	uint8_t labelLength;

	labelLength = playlistItemReadLabelLength();
	if (labelLength == 0) {
		return 0;
	}

	if (labelLength > maxLength) {
		labelLength = maxLength;
	}

	rc = playlistItemReadOffset(&label, labelLength * sizeof(wchar_t),
				    PL_ITEM_LENGTH_HEADER);
	if (rc != Error_None) {
		return 0;
	}

	label[labelLength] = L'0';

	return labelLength;
}

/**
 * Read the label length of the current entry
 *
 *
 * @return	The label length or zero when something happened
 *
 ******************************************************************************/
uint8_t playlistItemReadPayloadLength(void)
{
	int rc;
	uint16_t len;
	uint16_t payloadLen;
	uint16_t payloadOffset;
	uint8_t labelLength;

	rc = playlistItemReadOffset(&len, sizeof(len), 0);
	if (rc != Error_None) {
		return 0;
	}

	labelLength = playlistItemReadLabelLength();
	if (labelLength == 0) {
		return 0;
	}

	payloadOffset = PL_ITEM_LENGTH_HEADER + labelLength;
	payloadLen = len - payloadOffset;

	return payloadLen;
}

/**
 * Read the payload of the current entry
 *
 * @param payload	The target location for the read payload
 * @param maxLength	The maximum length to read.
 * @return	The read payload length or 0 when something happened
 *
 ******************************************************************************/
uint16_t playlistItemReadPayload(void *payload, uint16_t maxLength)
{
	int rc;
	uint16_t len;
	uint16_t payloadLen;
	uint16_t payloadOffset;
	uint8_t labelLength;

	rc = playlistItemReadOffset(&len, sizeof(len), 0);
	if (rc != Error_None) {
		return 0;
	}

	labelLength = playlistItemReadLabelLength();
	if (labelLength == 0) {
		return 0;
	}

	payloadOffset = PL_ITEM_LENGTH_HEADER + labelLength;
	payloadLen = len - payloadOffset;

	if (payloadLen > maxLength) {
		payloadLen = maxLength;
	}

	rc = playlistItemReadOffset(&payload, payloadLen, payloadOffset);
	if (rc != Error_None) {
		return 0;
	}

	return payloadLen;
}

/**
 * Remove the currently selected playlist item
 *
 *
 * @return	An error code
 *
 ******************************************************************************/
int playlistItemRemove(void)
{
	uint16_t len;
	int rc;

	len = playlistItemReadSize();
	if (len == 0) {
		return Error_Memory;
	}

	rc = storageRemoveBytes(currentList.file, len);

	return rc;
}

/**
 * Move to the item with the given index
 *
 * @param index Playlist item on the given index
 * @return     Error_None, when successful, an error code otherwise
 *
 ******************************************************************************/
int playlistItemGotoIndex(uint16_t index)
{
	int32_t retVal;

	/* We can not parse backwards, therefore we must start at the beginning
     when moving back */
	if (index < currentList.curItem) {
		retVal = SPIFFS_lseek(&spiFileSys, currentList.file, 0,
				      SEEK_SET);
		if (retVal < 0) {
			return Error_Device;
		}
		currentList.curItem = 0;
	}

	for (currentList.curItem = 0; currentList.curItem < index;
	     ++currentList.curItem) {
		uint16_t size;

		size = playlistItemReadSize();
		if (size == 0) {
			return Error_Memory;
		}

		retVal = SPIFFS_lseek(&spiFileSys, currentList.file, size,
				      SEEK_CUR);
		if (size == 0 || retVal < 0) {
			return Error_Device;
		}
	}

	return Error_None;
}

/**
 * Move to the item with the given ID
 *
 * @param index Playlist item identifier
 * @return     Error_None, when successful, an error code otherwise
 *
 ******************************************************************************/
int playlistItemGotoId(uint32_t id)
{
	for (currentList.curItem = 0;
	     currentList.curItem < currentList.totItems;
	     ++currentList.curItem) {
		uint32_t identifier;
		int rc;

		rc = playlistItemGotoIndex(currentList.curItem);
		if (rc != Error_None) {
			return Error_Memory;
		}

		identifier = playlistItemReadId();
		if (identifier == 0) {
			return Error_Memory;
		}

		if (identifier == id) {
			return Error_None;
		}
	}
	return Error_NotFound;
}

/**
 * Get the number of currently stored items in the playlist
 *
 * @return The number of playlist items on file system
 *
 ******************************************************************************/
uint16_t playlistGetItemCount(void)
{
	return currentList.totItems;
}

/**
 * Read a location within the playlist item and return to the original location
 *
 * @param buf	The target buffer for the read data
 * @param len	The number of bytes to read
 * @param offset	The offset in bytes from the current location to read
 *from.
 * @return		An error code
 *
 ******************************************************************************/
static int playlistItemReadOffset(void *buf, int32_t len, int32_t offset)
{
	int32_t retVal;

	/* We are certainly not at the file end! Or, perhaps... */
	retVal = SPIFFS_eof(&spiFileSys, currentList.file);
	if (retVal != 0) {
		return Error_Memory;
	}

	retVal = SPIFFS_lseek(&spiFileSys, currentList.file, offset, SEEK_CUR);
	if (retVal < 0) {
		return Error_Memory;
	}

	retVal = SPIFFS_read(&spiFileSys, currentList.file, buf, len);
	if (retVal != len) {
		return Error_Memory;
	}

	retVal = SPIFFS_lseek(&spiFileSys, currentList.file, -offset - len,
			      SEEK_CUR);
	if (retVal < 0) {
		return Error_Memory;
	}

	return Error_None;
}

/**
 * Counts the number of items in the playlist and finds the currently largest
 * identifier.
 *
 * This function will leave the file cursor at the beginning of the file.
 *
 * @param itemCount[out]	The number of items within the playlist
 * @return				The error code of the command
 *
 ******************************************************************************/
static int playlistCheckItems(void)
{
	int32_t retVal;

	retVal = SPIFFS_lseek(&spiFileSys, currentList.file, 0, SEEK_SET);
	if (retVal < 0) {
		return Error_Device;
	}

	while (!SPIFFS_eof(&spiFileSys, currentList.file)) {
		uint32_t id;

		currentList.totItems++;

		id = playlistItemReadId();
		if (id >= currentList.nextId) {
			currentList.nextId = id + 1;
		}

		retVal = SPIFFS_lseek(&spiFileSys, currentList.file,
				      playlistItemReadSize(), SEEK_CUR);
		if (retVal < 0) {
			return Error_Device;
		}
	}

	retVal = SPIFFS_lseek(&spiFileSys, currentList.file, 0, SEEK_SET);
	if (retVal < 0) {
		return Error_Device;
	}

	currentList.curItem = 0;

	return Error_None;
}
```

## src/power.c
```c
/*
 * power.c
 *
 * Implements the power supply functions
 *
 *  Created on: 20.01.2017
 *      Author: marco
 */

#include "power.h"
#include <device.h>
#include <drivers/gpio.h>

#include "hardwareconfig.h"

/**
 * Initialise GPIO related to the power supply control pins.
 */
int powerInit(void)
{
	const struct device *gpioPort = device_get_binding(POWER_1V8_GPIO_Port);
	int rc;

	rc = gpio_pin_configure(gpioPort, POWER_1V8_Pin, GPIO_OUTPUT);
	if (rc != 0) {
		return rc;
	}
	gpioPort = device_get_binding(POWER_3V3_GPIO_Port);
	rc = gpio_pin_configure(gpioPort, POWER_3V3_Pin, GPIO_OUTPUT);
	if (rc != 0) {
		return rc;
	}
	gpioPort = device_get_binding(POWER_5V_GPIO_Port);
	rc = gpio_pin_configure(gpioPort, POWER_5V_Pin, GPIO_OUTPUT);
	if (rc != 0) {
		return rc;
	}
	gpioPort = device_get_binding(POWER_BKFD_GPIO_Port);
	rc = gpio_pin_configure(gpioPort, POWER_BKFD_Pin, GPIO_OUTPUT);
	return rc;
}

/**
 * Switches the 1.8V power supply on or off.
 *
 * @param on	On-state of the power supply (0: off, else: on)
 */
int powerSet1v8(bool on)
{
	const struct device *gpioPort = device_get_binding(POWER_1V8_GPIO_Port);
	int rc;

	rc = gpio_pin_set(gpioPort, POWER_1V8_Pin, 1);
	return rc;
}

/**
 * Switches the 3.3V power supply on or off.
 *
 * @param on	On-state of the power supply (0: off, else: on)
 */
int powerSet3v3(bool on)
{
	const struct device *gpioPort = device_get_binding(POWER_3V3_GPIO_Port);
	int rc;

	rc = gpio_pin_set(gpioPort, POWER_3V3_Pin, 1);
	return rc;
}

/**
 * Switches the 5V LED power supply on or off.
 *
 * @param on	On-state of the power supply (0: off, else: on)
 */
int powerSetLed(bool on)
{
	const struct device *gpioPort;
	int rc;

	gpioPort = device_get_binding(POWER_5V_GPIO_Port);
	rc = gpio_pin_set(gpioPort, POWER_5V_Pin, 1);
	return rc;
}

/**
 * Switches the backfeed power supply on or off.
 *
 * @param on	On-state of the power supply (0: off, else: on)
 */
int powerSetBackfeed(bool on)
{
	const struct device *gpioPort = device_get_binding(POWER_BKFD_GPIO_Port);
	int rc;

	rc = gpio_pin_set(gpioPort, POWER_BKFD_Pin, 1);
	return rc;
}

/**
 * Returns the current state of the 1.8V power supply.
 *
 * @return	The on state of the 1.8V power supply.
 */
int powerGet1v8(void)
{
	const struct device *gpioPort = device_get_binding(POWER_1V8_GPIO_Port);
	int pinState;

	pinState = gpio_pin_get(gpioPort, POWER_1V8_Pin);
	return pinState;
}

/**
 * Returns the current state of the 3.3V power supply.
 *
 * @return	The on state of the 3.3V power supply.
 */
int powerGet3v3(void)
{
	const struct device *gpioPort = device_get_binding(POWER_3V3_GPIO_Port);
	int pinState;

	pinState = gpio_pin_get(gpioPort, POWER_3V3_Pin);
	return pinState;
}

/**
 * Returns the current state of the 5V LED power supply.
 *
 * @return	The on state of the 5V power supply.
 */
int powerGetLed(void)
{
	const struct device *gpioPort = device_get_binding(POWER_5V_GPIO_Port);
	int pinState;

	pinState = gpio_pin_get(gpioPort, POWER_5V_Pin);
	return pinState;
}

/**
 * Returns the current state of the backfeed power supply.
 *
 * @return	The on state of the backfeed power supply.
 */
int powerGetBackfeed(void)
{
	const struct device *gpioPort = device_get_binding(POWER_BKFD_GPIO_Port);
	int pinState;

	pinState = gpio_pin_get(gpioPort, POWER_BKFD_Pin);
	return pinState;
}
```

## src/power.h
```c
/*
 * power.h
 *
 * Declares power the power supply handling.
 *
 * Display power handling is done in the display module.
 *
 *  Created on: 20.01.2017
 *      Author: marco
 */

#ifndef INC_POWER_H_
#define INC_POWER_H_

#include "stm32f2xx_hal.h"

typedef struct Power {
    GPIO_TypeDef* dis3v3Port;
    GPIO_TypeDef* enBkFdPort;
    GPIO_TypeDef* en1v8Port;
    GPIO_TypeDef* en5vPort;
    uint16_t dis3v3Pin;
    uint16_t enBkFdPin;
    uint16_t en1v8Pin;
    uint16_t en5vPin;
} Power;

extern Power power;

void powerSet1v8(Power* pInst, int on);
void powerSet5v(Power* pInst, int on);

int powerGet1v8(Power* pInst);
int powerGet5v(Power* pInst);

#endif /* INC_POWER_H_ */
```
